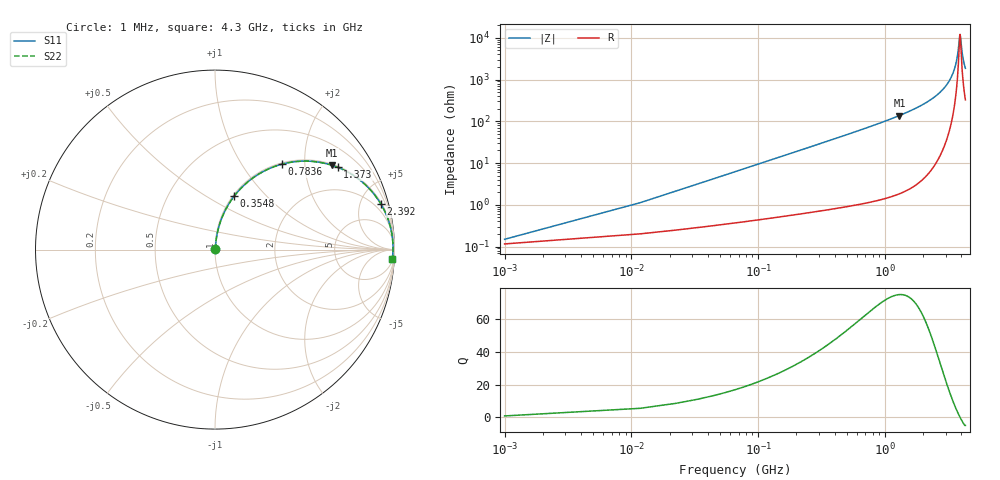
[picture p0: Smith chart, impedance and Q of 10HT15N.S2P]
! Coilcraft 1008HT-15N Chip Inductor
! 16 July 2002
# MHZ S MA R 50
!Freq  MagS11  AngS11  MagS21  AngS21  MagS12  AngS12  MagS22  AngS22
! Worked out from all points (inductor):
!   403 points, 1 MHz to 4.3 GHz, reference 50 ohm
!   read as one part in series: L = 15 nH near 22.44 MHz
!   highest Q = 75.1 at 1.298 GHz (marker M1), where L = 16.9 nH
!   self-resonance near 3.892 GHz
!   S11 on the Smith chart (normalised r, x): 1 MHz: 1.00, +0.00; 354.8 MHz: 1.02, +0.67; 783.6 MHz: 1.02, +1.54; 1.373 GHz: 1.04, +2.95; 2.392 GHz: 1.16, +7.22; 4.3 GHz: 8, -37
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1  0.001488 39.2  0.9988 -0.1  0.9988 -0.1  0.001488 39.2
33.16  0.03128 83.0  0.9967 -1.8  0.9967 -1.8  0.03128 83.0
54.6  0.05134 83.3  0.9953 -2.9  0.9953 -2.9  0.05134 83.3
86.76  0.08131 82.5  0.9926 -4.7  0.9926 -4.7  0.08131 82.5
129.64  0.1209 80.8  0.9879 -6.9  0.9879 -6.9  0.1209 80.8
193.96  0.1793 77.9  0.9782 -10.3  0.9782 -10.3  0.1793 77.9
354.76  0.3174 70.2  0.9412 -18.5  0.9412 -18.5  0.3174 70.2
719.24  0.5702 54.3  0.8125 -34.8  0.8125 -34.8  0.5702 54.3
783.56  0.6055 51.9  0.7867 -37.3  0.7867 -37.3  0.6055 51.9
1298.12  0.8038 35.7  0.5842 -53.5  0.5842 -53.5  0.8038 35.7
1373.16  0.823 33.9  0.5571 -55.4  0.5571 -55.4  0.823 33.9
1437.48  0.838 32.3  0.5345 -56.9  0.5345 -56.9  0.838 32.3
2155.72  0.9411 18.8  0.3218 -70.2  0.3218 -70.2  0.9411 18.8
2391.56  0.9584 15.4  0.2654 -73.4  0.2654 -73.4  0.9584 15.4
2873.96  0.9801 9.5  0.1656 -78.4  0.1656 -78.4  0.9801 9.5
3302.76  0.9891 5.2  0.09026 -80.5  0.09026 -80.5  0.9891 5.2
3592.2  0.9916 2.6  0.04519 -78.0  0.04519 -78.0  0.9916 2.6
3731.56  0.9919 1.4  0.02525 -70.7  0.02525 -70.7  0.9919 1.4
3870.92  0.9918 0.2  0.009184 -27.3  0.009184 -27.3  0.9918 0.2
3903.08  0.9918 -0.0  0.008234 1.5  0.008234 1.5  0.9918 -0.0
4096.04  0.9909 -1.5  0.02764 70.0  0.02764 70.0  0.9909 -1.5
4300  0.9892 -3.0  0.0532 76.8  0.0532 76.8  0.9892 -3.0
